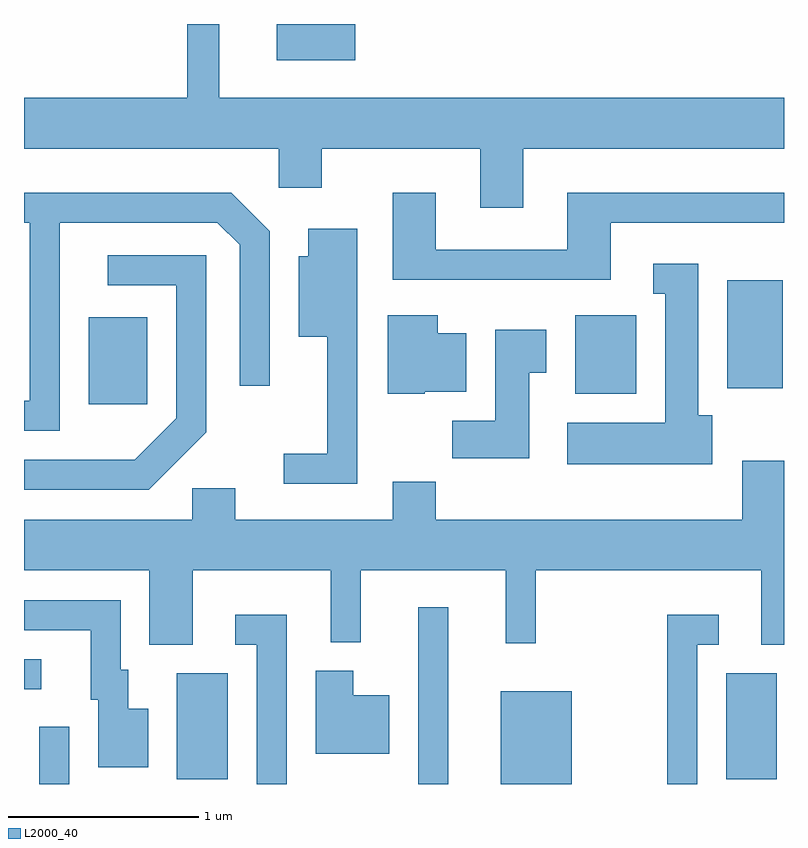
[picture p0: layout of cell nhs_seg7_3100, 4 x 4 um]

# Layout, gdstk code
import gdstk
lib = gdstk.Library(unit=1e-6, precision=1e-09)
def R(c, l, rs):  # rectangles x0, y0, x1, y1
    for r in rs: c.add(gdstk.rectangle(r[:2], r[2:], *l))
def P(c, l, *ps):  # polygons
    for p in ps: c.add(gdstk.Polygon(p, *l))
L2000_40 = (2000, 40)

nhs_seg7_3100 = lib.new_cell('nhs_seg7_3100')
R(nhs_seg7_3100, L2000_40, [(279.691,1764.252,279.849,1764.553), (281.686,1764.252,281.844,1765.183), (282.121,1764.252,282.494,1764.739), (280.416,1764.276,280.684,1764.834), (283.306,1764.276,283.574,1764.834), (279.611,1764.751,279.703,1764.909), (279.951,1766.251,280.259,1766.709), (282.511,1766.306,282.834,1766.719), (283.311,1766.336,283.604,1766.904), (280.941,1768.061,281.354,1768.252)])
P(nhs_seg7_3100, L2000_40, [(282.239,1767.596),(283.611,1767.596),(283.611,1767.864),(280.639,1767.864),(280.639,1768.252),(280.471,1768.252),(280.471,1767.864),(279.611,1767.864),(279.611,1767.596),(280.951,1767.596),(280.951,1767.391),(281.179,1767.391),(281.179,1767.596),(282.011,1767.596),(282.011,1767.286),(282.239,1767.286)],
  [(282.699,1767.206),(283.611,1767.206),(283.611,1767.364),(282.471,1767.364),(282.471,1767.064),(281.779,1767.064),(281.779,1767.364),(281.551,1767.364),(281.551,1766.906),(282.699,1766.906)],
  [(279.799,1767.206),(280.629,1767.206),(280.746,1767.089),(280.746,1766.348),(280.904,1766.348),(280.904,1767.162),(280.702,1767.364),(279.611,1767.364),(279.611,1767.206),(279.641,1767.206),(279.641,1766.269),(279.611,1766.269),(279.611,1766.111),(279.799,1766.111)],
  [(281.364,1767.174),(281.106,1767.174),(281.106,1767.029),(281.056,1767.029),(281.056,1766.606),(281.206,1766.606),(281.206,1765.989),(280.978,1765.989),(280.978,1765.831),(281.364,1765.831)],
  [(280.569,1766.104),(280.569,1767.034),(280.053,1767.034),(280.053,1766.876),(280.411,1766.876),(280.411,1766.177),(280.194,1765.959),(279.611,1765.959),(279.611,1765.801),(280.267,1765.801)],
  [(283.234,1766.194),(283.159,1766.194),(283.159,1766.989),(282.923,1766.989),(282.923,1766.831),(282.986,1766.831),(282.986,1766.154),(282.471,1766.154),(282.471,1765.936),(283.234,1765.936)],
  [(281.72,1766.316),(281.939,1766.316),(281.939,1766.624),(281.789,1766.624),(281.789,1766.719),(281.526,1766.719),(281.526,1766.306),(281.72,1766.306)],
  [(282.269,1766.416),(282.359,1766.416),(282.359,1766.644),(282.091,1766.644),(282.091,1766.164),(281.866,1766.164),(281.866,1765.966),(282.269,1765.966)],
  [(280.499,1765.376),(281.226,1765.376),(281.226,1764.998),(281.384,1764.998),(281.384,1765.376),(282.146,1765.376),(282.146,1764.993),(282.304,1764.993),(282.304,1765.376),(283.491,1765.376),(283.491,1764.986),(283.611,1764.986),(283.611,1765.954),(283.391,1765.954),(283.391,1765.644),(281.779,1765.644),(281.779,1765.844),(281.551,1765.844),(281.551,1765.644),(280.724,1765.644),(280.724,1765.809),(280.496,1765.809),(280.496,1765.644),(279.611,1765.644),(279.611,1765.376),(280.271,1765.376),(280.271,1764.986),(280.499,1764.986)],
  [(280.264,1764.649),(280.159,1764.649),(280.159,1764.854),(280.119,1764.854),(280.119,1765.219),(279.611,1765.219),(279.611,1765.061),(279.961,1765.061),(279.961,1764.696),(280.001,1764.696),(280.001,1764.341),(280.264,1764.341)],
  [(283.154,1764.986),(283.268,1764.986),(283.268,1765.144),(282.996,1765.144),(282.996,1764.252),(283.154,1764.252)],
  [(280.994,1765.144),(280.723,1765.144),(280.723,1764.986),(280.836,1764.986),(280.836,1764.252),(280.994,1764.252)],
  [(281.534,1764.719),(281.344,1764.719),(281.344,1764.849),(281.146,1764.849),(281.146,1764.411),(281.534,1764.411)])

lib.write_gds('nhs_seg7_3100.gds')
